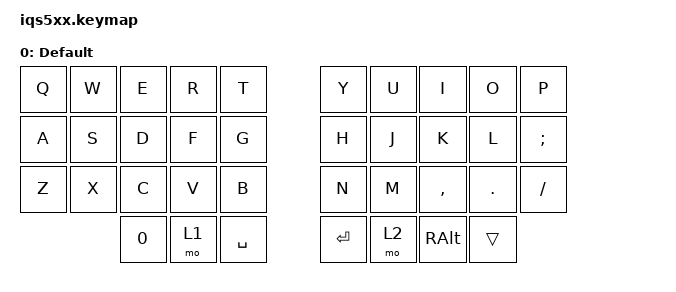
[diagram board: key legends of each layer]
#include <behaviors.dtsi>
#include <dt-bindings/zmk/keys.h>
#include <dt-bindings/zmk/bt.h>

#define DEFAULT 0
#define FIRST 1
#define SECOND 2
#define THIRD 3



/ {
        keymap {
                compatible = "zmk,keymap";
		label = "iqs5xx";
		
                default_layer {
                label = "Default";
                	bindings = <

   &kp Q  &kp W  &kp E  &kp R  &kp T           &kp Y   &kp U  &kp I     &kp O    &kp P     
   &kp A  &kp S  &kp D  &kp F  &kp G           &kp H   &kp J  &kp K     &kp L    &kp SEMI  
   &kp Z  &kp X  &kp C  &kp V  &kp B           &kp N   &kp M  &kp COMMA &kp DOT  &kp SLASH 
                &kp N0  &mo 1  &kp SPACE       &kp RET &mo 2  &kp RALT  &trans
                        >;
                };
        };
};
